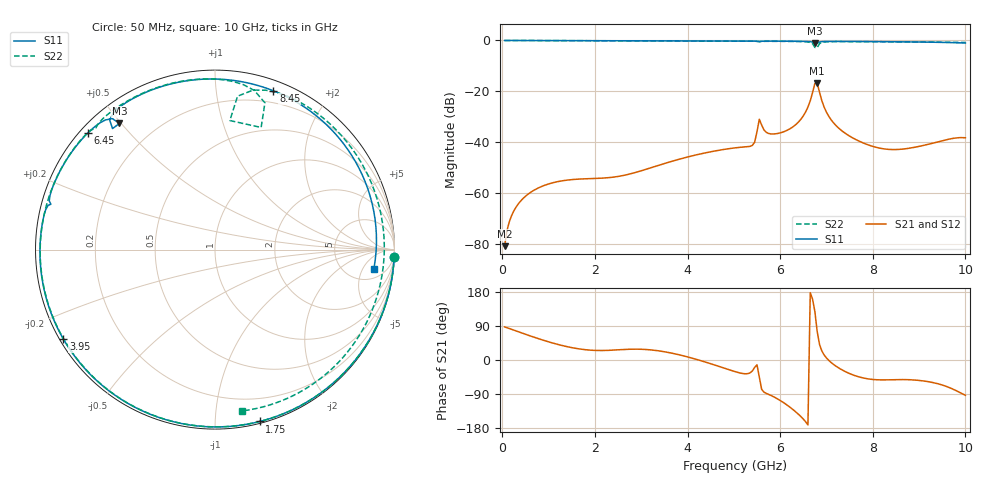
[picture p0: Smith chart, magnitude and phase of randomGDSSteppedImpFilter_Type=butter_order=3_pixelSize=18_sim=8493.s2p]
! freq	dB(S11)	phase(S11)	dB(S12)	phase(S12)
!  dB(S21)	phase(S21)	dB(S22)	phase(S22)
!S-par simulation data
#  GHz  S  DB  R 50
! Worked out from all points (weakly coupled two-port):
!   200 points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, 50 MHz to 10 GHz, reference 50 ohm
!   highest |S21| = -16.74 dB at 6.8 GHz (marker M1); lowest = -80.9 dB at 50 MHz (marker M2)
!   lowest |S11| = -1.1 dB at 6.75 GHz (marker M3), VSWR 15.90, Z = 3.92 + j24.7 ohm
!   |S11| at or under -10 dB: nowhere
!   |S22| runs from -2.8 to 0.0 dB; largest |S21 - S12| = 0
!   S11 on the Smith chart (normalised r, x): 50 MHz: 1, -49; 1.75 GHz: 0.01, -1.29; 3.95 GHz: 0.01, -0.27; 6.45 GHz: 0.02, +0.39; 8.45 GHz: 0.09, +1.43; 10 GHz: 8, -9
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0.05  -0.01 -2.3  -80.85 87.3  -80.85 87.3  -0.01 -2.3
0.2  -0.01 -9.1  -68.87 80.9  -68.87 80.9  -0.01 -8.9
0.5  -0.03 -22.7  -61.25 67.9  -61.25 67.9  -0.03 -22.2
1.75  -0.09 -75.4  -54.40 27.8  -54.40 27.8  -0.09 -75.3
2.55  -0.12 -104.8  -53.29 27.2  -53.29 27.2  -0.13 -107.0
3.4  -0.15 -132.7  -48.94 23.8  -48.94 23.8  -0.17 -139.4
3.95  -0.17 -149.5  -46.04 9.8  -46.04 9.8  -0.20 -160.3
5.05  -0.22 178.6  -42.16 -31.5  -42.16 -31.5  -0.27 156.1
5.4  -0.25 168.4  -41.24 -28.8  -41.24 -28.8  -0.30 140.9
5.55  -0.46 164.6  -30.98 -45.7  -30.98 -45.7  -0.46 134.5
5.85  -0.28 155.9  -36.77 -96.4  -36.77 -96.4  -0.34 120.8
6.45  -0.34 137.5  -30.91 -149.6  -30.91 -149.6  -0.45 90.0
6.7  -0.66 128.1  -20.49 160.6  -20.49 160.6  -1.27 71.2
6.75  -1.09 127.2  -16.85 127.5  -16.85 127.5  -2.77 69.3
6.8  -1.08 130.2  -16.74 75.1  -16.74 75.1  -2.81 83.4
7  -0.39 122.7  -28.20 5.3  -28.20 5.3  -0.53 68.6
7.25  -0.38 113.9  -34.24 -19.9  -34.24 -19.9  -0.46 53.3
7.8  -0.43 94.7  -40.34 -47.6  -40.34 -47.6  -0.47 22.9
8.35  -0.50 73.8  -42.83 -52.3  -42.83 -52.3  -0.52 -6.1
8.45  -0.51 69.8  -42.89 -52.0  -42.89 -52.0  -0.53 -11.1
9.35  -0.71 29.4  -40.13 -61.0  -40.13 -61.0  -0.66 -53.6
10  -1.00 -6.8  -38.24 -93.2  -38.24 -93.2  -0.81 -80.6
